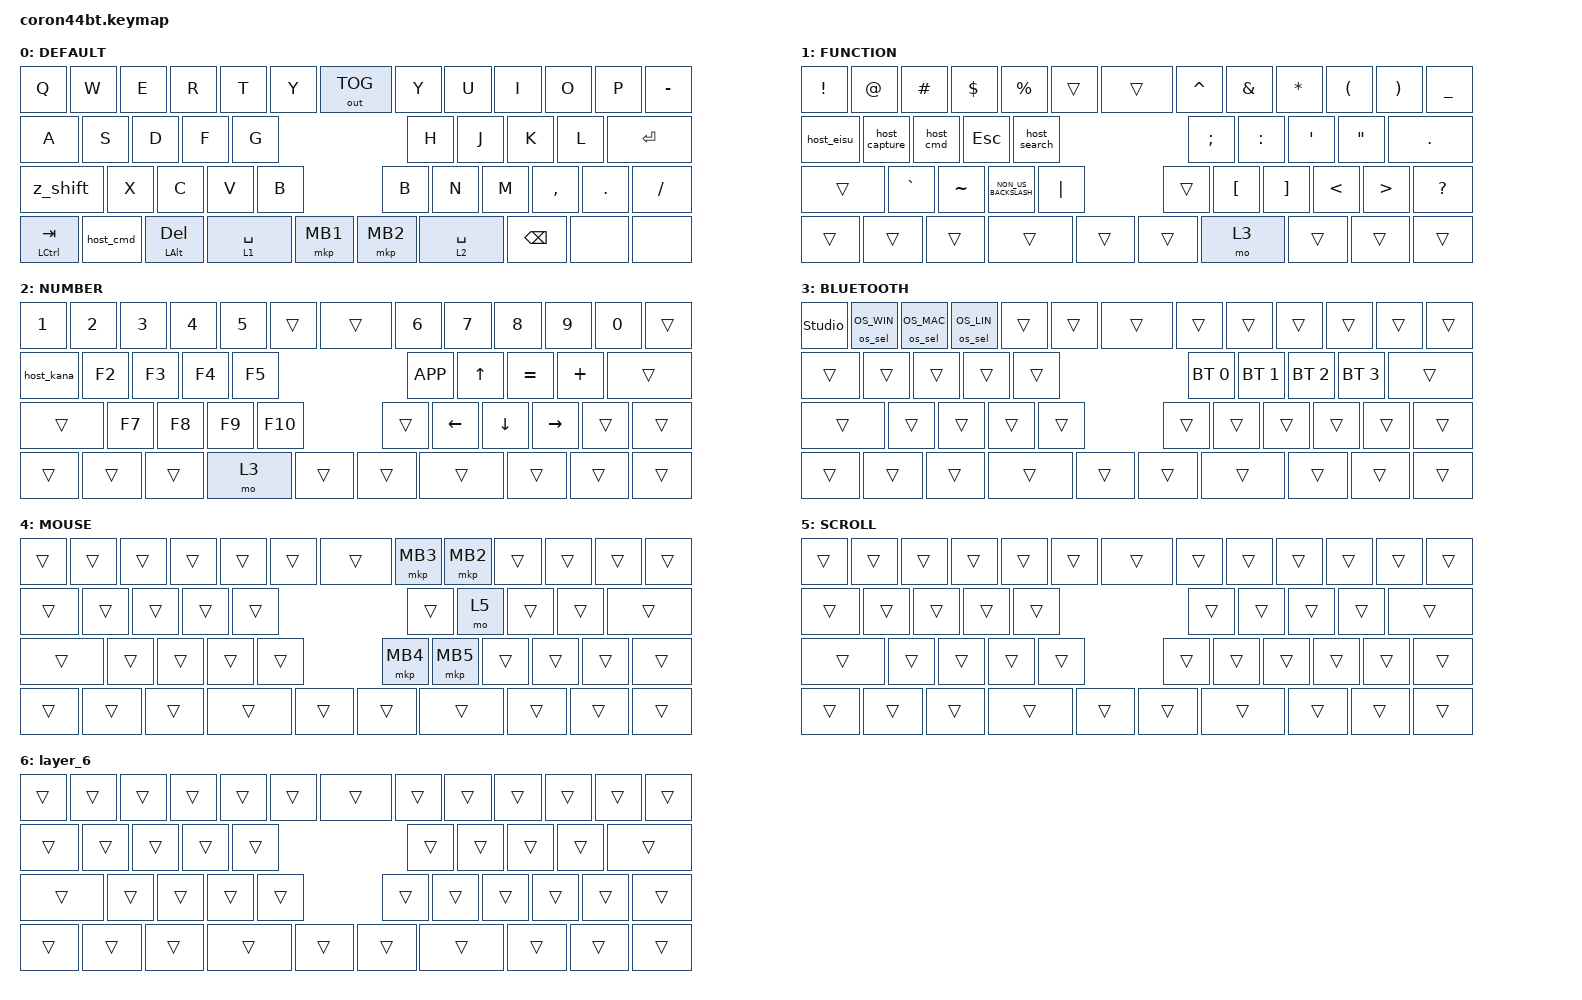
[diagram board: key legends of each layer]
#include <dt-bindings/zmk/mouse.h>
#include <behaviors.dtsi>
#include <dt-bindings/zmk/bt.h>
#include <dt-bindings/zmk/keys.h>
#include <dt-bindings/zmk/outputs.h>
#include <dt-bindings/zmk/pointing.h>
#include <dt-bindings/zmk/oskey.h>
#include <behaviors/oskey.dtsi>

#define MOUSE 4
#define SCROLL 5
#define NUM 6

&mt {
    flavor = "balanced";
    quick-tap-ms = <0>;
};

/ {
    combos {
        compatible = "zmk,combos";

        tab {
            bindings = <&kp TAB>;
            key-positions = <11 12>;
        };

        shift_tab {
            bindings = <&kp LS(TAB)>;
            key-positions = <12 13>;
        };

        muhennkann {
            bindings = <&to_layer_0 INT_MUHENKAN>;
            key-positions = <11 10>;
        };

        double_quotation {
            bindings = <&kp DOUBLE_QUOTES>;
            key-positions = <20 21>;
        };

        eq {
            bindings = <&kp EQUAL>;
            key-positions = <24 25>;
        };
    };

    macros {
        to_layer_0: to_layer_0 {
            compatible = "zmk,behavior-macro-one-param";
            #binding-cells = <1>;
            bindings = <&to 0 &macro_param_1to1 &kp MACRO_PLACEHOLDER>;
            label = "TO_LAYER_0";
        };
    };

    behaviors {
        host_cmd: host_command {
            compatible = "zmk,behavior-os-key";
            label = "HOST_COMMAND";
            #binding-cells = <0>;
            bindings = <&kp LCTRL>, <&kp LGUI>, <&kp LCTRL>;
        };

        host_capture: host_screenshot {
            compatible = "zmk,behavior-os-key";
            label = "HOST_SCREENSHOT";
            #binding-cells = <0>;
            bindings = <&kp LS(LG(S))>, <&kp LS(LG(N4))>, <&kp PRINTSCREEN>;
        };

        host_search: host_search {
            compatible = "zmk,behavior-os-key";
            label = "HOST_SEARCH";
            #binding-cells = <0>;
            bindings = <&kp LG(S)>, <&kp LG(SPACE)>, <&kp LG(S)>;
        };

        host_eisu: host_eisu {
            compatible = "zmk,behavior-os-key";
            label = "HOST_EISU";
            #binding-cells = <0>;
            bindings = <&kp LANGUAGE_2>, <&kp LANGUAGE_2>, <&kp LC(SPACE)>;
        };

        host_kana: host_kana {
            compatible = "zmk,behavior-os-key";
            label = "HOST_KANA";
            #binding-cells = <0>;
            bindings = <&kp LANGUAGE_1>, <&kp LANGUAGE_1>, <&kp LC(SPACE)>;
        };

        lt_to_layer_0: lt_to_layer_0 {
            compatible = "zmk,behavior-hold-tap";
            label = "LAYER_TAP_TO_0";
            bindings = <&mo>, <&to_layer_0>;

            #binding-cells = <2>;
            tapping-term-ms = <200>;
        };

        z_shift: z_shift {
            compatible = "coron44bt,z-shift";
            label = "Z_SHIFT";
            #binding-cells = <0>;
            bindings = <&kp LEFT_SHIFT>, <&kp Z>, <&kp LS(Z)>;
            hold-term-ms = <180>;
            double-tap-ms = <200>;
        };
    };

    keymap {
        compatible = "zmk,keymap";

        DEFAULT {
            bindings = <
&kp Q          &kp W         &kp E                &kp R        &kp T     &kp Y     &out OUT_TOG  &kp Y          &kp U      &kp I    &kp O
&kp A          &kp S         &kp D                &kp F        &kp G     &kp H     &kp J         &kp K          &kp L      &kp P    &kp MINUS
&z_shift       &kp X         &kp C                &kp V        &kp B     &kp B     &kp N         &kp M          &kp COMMA  &kp DOT  &kp ENTER
&mt LCTRL TAB  &host_cmd     &mt LEFT_ALT DELETE  &lt 1 SPACE  &mkp MB1  &mkp MB2  &lt 2 SPACE   &kp BACKSPACE  &none      &none    &kp SLASH
            >;
        };

        FUNCTION {
            bindings = <
&kp EXCLAMATION  &kp AT_SIGN    &kp POUND     &kp DOLLAR            &kp PERCENT    &trans    &trans     &kp CARET  &kp AMPERSAND      &kp ASTERISK           &kp LEFT_PARENTHESIS
&host_eisu       &host_capture  &host_cmd     &kp ESCAPE            &host_search   &kp SEMI  &kp COLON  &kp SQT    &kp DOUBLE_QUOTES  &kp RIGHT_PARENTHESIS  &kp UNDERSCORE
&trans           &kp GRAVE      &kp TILDE     &kp NON_US_BACKSLASH  &kp PIPE       &trans    &kp LBKT   &kp RBKT   &kp LESS_THAN      &kp GREATER_THAN       &kp DOT
&trans           &trans         &trans        &trans                &trans         &trans    &mo 3      &trans     &trans             &trans                 &kp QUESTION
            >;
        };

        NUMBER {
            bindings = <
&kp N1          &kp N2  &kp N3  &kp N4  &kp N5   &trans     &trans    &kp N6     &kp N7     &kp N8  &kp N9
&host_kana      &kp F2  &kp F3  &kp F4  &kp F5   &kp K_APP  &kp UP    &kp EQUAL  &kp PLUS   &kp N0  &trans
&trans          &kp F7  &kp F8  &kp F9  &kp F10  &trans     &kp LEFT  &kp DOWN   &kp RIGHT  &trans  &trans
&trans          &trans  &trans  &mo 3   &trans   &trans     &trans    &trans     &trans     &trans  &trans
            >;
        };

        BLUETOOTH {
            bindings = <
&studio_unlock  &os_sel OS_WIN  &os_sel OS_MAC  &os_sel OS_LIN  &trans  &trans        &trans        &trans        &trans        &trans  &trans
&trans  &trans  &trans  &trans  &trans  &bt BT_SEL 0  &bt BT_SEL 1  &bt BT_SEL 2  &bt BT_SEL 3  &trans  &trans
&trans  &trans  &trans  &trans  &trans  &trans        &trans        &trans        &trans        &trans  &trans
&trans  &trans  &trans  &trans  &trans  &trans        &trans        &trans        &trans        &trans  &trans
            >;
        };

        MOUSE {
            bindings = <
&trans  &trans  &trans  &trans  &trans  &trans    &trans    &mkp MB3  &mkp MB2  &trans  &trans
&trans  &trans  &trans  &trans  &trans  &trans    &mo 5     &trans    &trans    &trans  &trans
&trans  &trans  &trans  &trans  &trans  &mkp MB4  &mkp MB5  &trans    &trans    &trans  &trans
&trans  &trans  &trans  &trans  &trans  &trans    &trans    &trans    &trans    &trans  &trans
            >;
        };

        SCROLL {
            bindings = <
&trans  &trans  &trans  &trans  &trans  &trans  &trans  &trans  &trans  &trans  &trans
&trans  &trans  &trans  &trans  &trans  &trans  &trans  &trans  &trans  &trans  &trans
&trans  &trans  &trans  &trans  &trans  &trans  &trans  &trans  &trans  &trans  &trans
&trans  &trans  &trans  &trans  &trans  &trans  &trans  &trans  &trans  &trans  &trans
            >;
        };

        layer_6 {
            bindings = <
&trans  &trans  &trans  &trans  &trans  &trans  &trans  &trans  &trans  &trans  &trans
&trans  &trans  &trans  &trans  &trans  &trans  &trans  &trans  &trans  &trans  &trans
&trans  &trans  &trans  &trans  &trans  &trans  &trans  &trans  &trans  &trans  &trans
&trans  &trans  &trans  &trans  &trans  &trans  &trans  &trans  &trans  &trans  &trans
            >;
        };
    };
};
